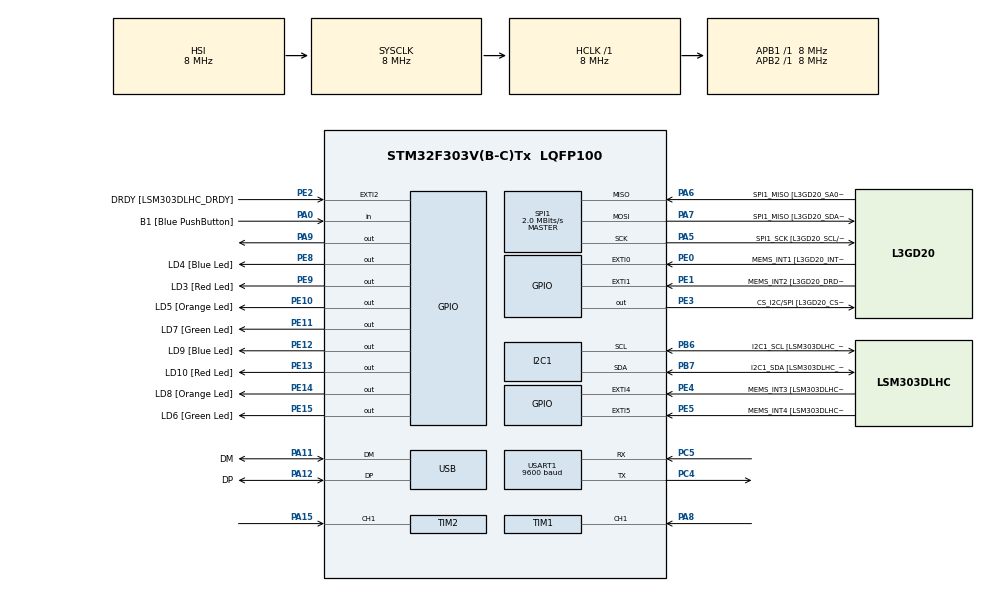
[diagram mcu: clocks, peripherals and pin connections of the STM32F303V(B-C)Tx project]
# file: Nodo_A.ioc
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I2C1.Timing-I2C=0x2000090E
Mcu.Family=STM32F3
Mcu.Name=STM32F303V(B-C)Tx
Mcu.Package=LQFP100
NVIC.PriorityGroup=NVIC_PRIORITYGROUP_0
NVIC.TIM1_CC_IRQn=true\:0\:0\:false\:false\:true\:true\:true\:true
NVIC.USART1_IRQn=true\:0\:0\:false\:false\:true\:true\:true\:true
PA0.GPIO_Label=B1 [Blue PushButton]
PA0.Signal=GPIO_Input
PA11.GPIO_Label=DM
PA11.Mode=Device
PA11.Signal=USB_DM
PA12.GPIO_Label=DP
PA12.Mode=Device
PA12.Signal=USB_DP
PA13.GPIO_Label=SWDIO
PA13.Mode=Serial_Wire
PA13.Signal=SYS_JTMS-SWDIO
PA14.GPIO_Label=SWCLK
PA14.Mode=Serial_Wire
PA14.Signal=SYS_JTCK-SWCLK
PA15.Signal=S_TIM2_CH1_ETR
PA5.GPIO_Label=SPI1_SCK [L3GD20_SCL/SPC]
PA5.Mode=Full_Duplex_Master
PA5.Signal=SPI1_SCK
PA6.GPIO_Label=SPI1_MISO [L3GD20_SA0/SDO]
PA6.Mode=Full_Duplex_Master
PA6.Signal=SPI1_MISO
PA7.GPIO_Label=SPI1_MISO [L3GD20_SDA/SDI/SDO]
PA7.Mode=Full_Duplex_Master
PA7.Signal=SPI1_MOSI
PA8.Signal=S_TIM1_CH1
PA9.Signal=GPIO_Output
PB3.GPIO_Label=SWO
PB3.Signal=SYS_JTDO-TRACESWO
PB6.GPIO_Label=I2C1_SCL [LSM303DLHC_SCL]
PB6.GPIO_Pu=GPIO_PULLUP
PB6.Mode=I2C
PB6.Signal=I2C1_SCL
PB7.GPIO_Label=I2C1_SDA [LSM303DLHC_SDA]
PB7.GPIO_Pu=GPIO_PULLUP
PB7.Mode=I2C
PB7.Signal=I2C1_SDA
PC14-OSC32_IN.GPIO_Label=OSC32_IN
PC14-OSC32_IN.Signal=RCC_OSC32_IN
PC15-OSC32_OUT.GPIO_Label=OSC32_OUT
PC15-OSC32_OUT.Signal=RCC_OSC32_OUT
PC4.Mode=Asynchronous
PC4.Signal=USART1_TX
PC5.Mode=Asynchronous
PC5.Signal=USART1_RX
PE0.GPIO_Label=MEMS_INT1 [L3GD20_INT1]
PE0.GPIO_ModeDefaultEXTI=GPIO_MODE_EVT_RISING
PE0.Signal=GPXTI0
PE1.GPIO_Label=MEMS_INT2 [L3GD20_DRDY/INT2]
PE1.GPIO_ModeDefaultEXTI=GPIO_MODE_EVT_RISING
PE1.Signal=GPXTI1
PE10.GPIO_Label=LD5 [Orange Led]
PE10.Signal=GPIO_Output
PE11.GPIO_Label=LD7 [Green Led]
PE11.Signal=GPIO_Output
PE12.GPIO_Label=LD9 [Blue Led]
PE12.Signal=GPIO_Output
PE13.GPIO_Label=LD10 [Red Led]
PE13.Signal=GPIO_Output
PE14.GPIO_Label=LD8 [Orange Led]
PE14.Signal=GPIO_Output
PE15.GPIO_Label=LD6 [Green Led]
PE15.Signal=GPIO_Output
PE2.GPIO_Label=DRDY [LSM303DLHC_DRDY]
PE2.GPIO_ModeDefaultEXTI=GPIO_MODE_EVT_RISING
PE2.Signal=GPXTI2
PE3.GPIO_Label=CS_I2C/SPI [L3GD20_CS_I2C/SPI]
PE3.Signal=GPIO_Output
PE4.GPIO_Label=MEMS_INT3 [LSM303DLHC_INT1]
PE4.GPIO_ModeDefaultEXTI=GPIO_MODE_EVT_RISING
PE4.Signal=GPXTI4
PE5.GPIO_Label=MEMS_INT4 [LSM303DLHC_INT2]
PE5.GPIO_ModeDefaultEXTI=GPIO_MODE_EVT_RISING
PE5.Signal=GPXTI5
PE8.GPIO_Label=LD4 [Blue Led]
PE8.Signal=GPIO_Output
PE9.GPIO_Label=LD3 [Red Led]
PE9.Signal=GPIO_Output
PF0-OSC_IN.Mode=HSE-External-Oscillator
PF0-OSC_IN.Signal=RCC_OSC_IN
PF1-OSC_OUT.GPIO_Label=OSC_OUT
PF1-OSC_OUT.Mode=HSE-External-Oscillator
PF1-OSC_OUT.Signal=RCC_OSC_OUT
ProjectManager.HeapSize=0x200
ProjectManager.StackSize=0x400
ProjectManager.TargetToolchain=STM32CubeIDE
RCC.AHBFreq_Value=8000000
RCC.APB1Freq_Value=8000000
RCC.APB2Freq_Value=8000000
RCC.CortexFreq_Value=8000000
RCC.HSE_VALUE=8000000
RCC.HSI_VALUE=8000000
RCC.LSE_VALUE=32768
RCC.SYSCLKFreq_VALUE=8000000
RCC.USBFreq_Value=16000000
SH.S_TIM1_CH1.0=TIM1_CH1,Input_Capture1_from_TI1
SH.S_TIM2_CH1_ETR.0=TIM2_CH1,Input_Capture1_from_TI1
SPI1.BaudRatePrescaler=SPI_BAUDRATEPRESCALER_4
SPI1.BaudRatePrescaler-Full_Duplex_Master=SPI_BAUDRATEPRESCALER_2
SPI1.CalculateBaudRate=2.0 MBits/s
SPI1.CalculateBaudRate-Full_Duplex_Master=24.0 MBits/s
SPI1.Direction=SPI_DIRECTION_2LINES
SPI1.Mode=SPI_MODE_MASTER
SPI1.Mode-Full_Duplex_Master=SPI_MODE_MASTER
SPI1.VirtualType=VM_MASTER
TIM1.Channel-Input_Capture1_from_TI1=TIM_CHANNEL_1
TIM1.Period=0xffff-1
TIM1.Prescaler=72-1
TIM2.Channel-Input_Capture1_from_TI1=TIM_CHANNEL_1
USART1.BaudRate=9600
USART1.VirtualMode-Asynchronous=VM_ASYNC
board=STM32F3DISCOVERY

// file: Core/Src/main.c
#include "main.h"

I2C_HandleTypeDef hi2c1;

SPI_HandleTypeDef hspi1;

TIM_HandleTypeDef htim1;
TIM_HandleTypeDef htim2;

UART_HandleTypeDef huart1;

PCD_HandleTypeDef hpcd_USB_FS;

void SystemClock_Config(void);
static void MX_GPIO_Init(void);
static void MX_I2C1_Init(void);
static void MX_SPI1_Init(void);
static void MX_USB_PCD_Init(void);
static void MX_TIM1_Init(void);
static void MX_TIM2_Init(void);
static void MX_USART1_UART_Init(void);

/* USER CODE BEGIN 0 */

void delay (uint16_t time)
{
	__HAL_TIM_SET_COUNTER(&htim1, 0);
	while (__HAL_TIM_GET_COUNTER (&htim1) < time);
}

uint32_t IC_Val1 = 0;
uint32_t IC_Val2 = 0;
uint32_t Difference = 0;
uint8_t Is_First_Captured = 0;  //verifichiamo se catturiamo il primo valore
uint8_t Distance  = 0;

#define TRIG_PIN GPIO_PIN_9
#define TRIG_PORT GPIOA
#define BUFFER_LEN 3

uint8_t RX_BUFFER[BUFFER_LEN] = {0, 0, 0};
uint8_t TX_BUFFER[BUFFER_LEN] = {0, 0, 0};

void HAL_TIM_IC_CaptureCallback(TIM_HandleTypeDef *htim)
{
	if (htim->Channel == HAL_TIM_ACTIVE_CHANNEL_1)  //verifichiamo se l'interruzione viene da Channel 1
	{
		if (Is_First_Captured==0)
		{
			IC_Val1 = HAL_TIM_ReadCapturedValue(htim, TIM_CHANNEL_1); //catturiamo il valore...
			Is_First_Captured = 1; //... e settiamo la variabile ad 1
			//Mettiamo sul fronte di discesa
			__HAL_TIM_SET_CAPTUREPOLARITY(htim, TIM_CHANNEL_1, TIM_INPUTCHANNELPOLARITY_FALLING);
		}

		else if (Is_First_Captured==1)   //se abbiamo già il primo valore
		{
			IC_Val2 = HAL_TIM_ReadCapturedValue(htim, TIM_CHANNEL_1);  //catturiamo il secondo valore
			__HAL_TIM_SET_COUNTER(htim, 0);  //resettiamo il conteggio del timer

			if (IC_Val2 > IC_Val1)
			{
				Difference = IC_Val2-IC_Val1;
			}

			else if (IC_Val1 > IC_Val2)
			{
				Difference = (0xffff - IC_Val1) + IC_Val2;
			}

			Distance = Difference * 0.3438/2;
			Is_First_Captured = 0;

			//Rimettiamo sul fronte di salita
			__HAL_TIM_SET_CAPTUREPOLARITY(htim, TIM_CHANNEL_1, TIM_INPUTCHANNELPOLARITY_RISING);
			__HAL_TIM_DISABLE_IT(&htim1, TIM_IT_CC1);
		}
	}
}

void HCSR04_Read (void)
{
	HAL_GPIO_WritePin(TRIG_PORT, TRIG_PIN, GPIO_PIN_SET);  //mettiamo TRIG alto
	delay(10);  //aspettiamo 10 microsecondi
	HAL_GPIO_WritePin(TRIG_PORT, TRIG_PIN, GPIO_PIN_RESET);  //mettiamo TRIG basso

	__HAL_TIM_ENABLE_IT(&htim1, TIM_IT_CC1);
}

/* USER CODE END 0 */

int main(void)
{

  /* MCU Configuration--------------------------------------------------------*/

  /* Reset of all peripherals, Initializes the Flash interface and the Systick. */
  HAL_Init();

  /* Configure the system clock */
  SystemClock_Config();

  /* Initialize all configured peripherals */
  MX_GPIO_Init();
  MX_I2C1_Init();
  MX_SPI1_Init();
  MX_USB_PCD_Init();
  MX_TIM1_Init();
  MX_TIM2_Init();
  MX_USART1_UART_Init();
  /* USER CODE BEGIN 2 */

  HAL_TIM_IC_Start_IT(&htim1, TIM_CHANNEL_1);

  /* USER CODE END 2 */

  /* Infinite loop */
  while (1)
  {

    /* USER CODE BEGIN 3 */
	  HCSR04_Read();

	  TX_BUFFER[2] = ((Distance/100) + 48);
	  TX_BUFFER[1] = ((Distance/10)%10 + 48);
	  TX_BUFFER[0] = ((Distance%10) + 48);
	  HAL_UART_Transmit(&huart1, TX_BUFFER, sizeof(TX_BUFFER), 100);
	  HAL_Delay(200);
  }
  /* USER CODE END 3 */
}

void HAL_UART_RxCpltCallback(UART_HandleTypeDef *huart)
{
	if(huart->Instance == huart1.Instance)
	{
		if(RX_BUFFER[0] == '1')
		{
		    HAL_GPIO_WritePin(GPIOB, GPIO_PIN_10, 1);
		}
		else if(RX_BUFFER[0] == '0')
		{
		    HAL_GPIO_WritePin(GPIOB, GPIO_PIN_10, 0);
		}
		HAL_UART_Receive_IT(&huart1, RX_BUFFER, BUFFER_LEN);
	}
}

void SystemClock_Config(void)
{
  RCC_OscInitTypeDef RCC_OscInitStruct = {0};
  RCC_ClkInitTypeDef RCC_ClkInitStruct = {0};
  RCC_PeriphCLKInitTypeDef PeriphClkInit = {0};

  /** Initializes the RCC Oscillators according to the specified parameters
  * in the RCC_OscInitTypeDef structure.
  */
  RCC_OscInitStruct.OscillatorType = RCC_OSCILLATORTYPE_HSI|RCC_OSCILLATORTYPE_HSE;
  RCC_OscInitStruct.HSEState = RCC_HSE_ON;
  RCC_OscInitStruct.HSEPredivValue = RCC_HSE_PREDIV_DIV1;
  RCC_OscInitStruct.HSIState = RCC_HSI_ON;
  RCC_OscInitStruct.HSICalibrationValue = RCC_HSICALIBRATION_DEFAULT;
  RCC_OscInitStruct.PLL.PLLState = RCC_PLL_ON;
  RCC_OscInitStruct.PLL.PLLSource = RCC_PLLSOURCE_HSE;
  RCC_OscInitStruct.PLL.PLLMUL = RCC_PLL_MUL2;
  if (HAL_RCC_OscConfig(&RCC_OscInitStruct) != HAL_OK)
  {
    Error_Handler();
  }

  /** Initializes the CPU, AHB and APB buses clocks
  */
  RCC_ClkInitStruct.ClockType = RCC_CLOCKTYPE_HCLK|RCC_CLOCKTYPE_SYSCLK
                              |RCC_CLOCKTYPE_PCLK1|RCC_CLOCKTYPE_PCLK2;
  RCC_ClkInitStruct.SYSCLKSource = RCC_SYSCLKSOURCE_HSI;
  RCC_ClkInitStruct.AHBCLKDivider = RCC_SYSCLK_DIV1;
  RCC_ClkInitStruct.APB1CLKDivider = RCC_HCLK_DIV1;
  RCC_ClkInitStruct.APB2CLKDivider = RCC_HCLK_DIV1;

  if (HAL_RCC_ClockConfig(&RCC_ClkInitStruct, FLASH_LATENCY_0) != HAL_OK)
  {
    Error_Handler();
  }
  PeriphClkInit.PeriphClockSelection = RCC_PERIPHCLK_USB|RCC_PERIPHCLK_USART1
                              |RCC_PERIPHCLK_I2C1|RCC_PERIPHCLK_TIM1;
  PeriphClkInit.Usart1ClockSelection = RCC_USART1CLKSOURCE_PCLK2;
  PeriphClkInit.I2c1ClockSelection = RCC_I2C1CLKSOURCE_HSI;
  PeriphClkInit.USBClockSelection = RCC_USBCLKSOURCE_PLL;
  PeriphClkInit.Tim1ClockSelection = RCC_TIM1CLK_HCLK;
  if (HAL_RCCEx_PeriphCLKConfig(&PeriphClkInit) != HAL_OK)
  {
    Error_Handler();
  }
}

static void MX_I2C1_Init(void)
{

  hi2c1.Instance = I2C1;
  hi2c1.Init.Timing = 0x2000090E;
  hi2c1.Init.OwnAddress1 = 0;
  hi2c1.Init.AddressingMode = I2C_ADDRESSINGMODE_7BIT;
  hi2c1.Init.DualAddressMode = I2C_DUALADDRESS_DISABLE;
  hi2c1.Init.OwnAddress2 = 0;
  hi2c1.Init.OwnAddress2Masks = I2C_OA2_NOMASK;
  hi2c1.Init.GeneralCallMode = I2C_GENERALCALL_DISABLE;
  hi2c1.Init.NoStretchMode = I2C_NOSTRETCH_DISABLE;
  if (HAL_I2C_Init(&hi2c1) != HAL_OK)
  {
    Error_Handler();
  }

  /** Configure Analogue filter
  */
  if (HAL_I2CEx_ConfigAnalogFilter(&hi2c1, I2C_ANALOGFILTER_ENABLE) != HAL_OK)
  {
    Error_Handler();
  }

  /** Configure Digital filter
  */
  if (HAL_I2CEx_ConfigDigitalFilter(&hi2c1, 0) != HAL_OK)
  {
    Error_Handler();
  }

}

static void MX_SPI1_Init(void)
{

  /* SPI1 parameter configuration*/
  hspi1.Instance = SPI1;
  hspi1.Init.Mode = SPI_MODE_MASTER;
  hspi1.Init.Direction = SPI_DIRECTION_2LINES;
  hspi1.Init.DataSize = SPI_DATASIZE_4BIT;
  hspi1.Init.CLKPolarity = SPI_POLARITY_LOW;
  hspi1.Init.CLKPhase = SPI_PHASE_1EDGE;
  hspi1.Init.NSS = SPI_NSS_SOFT;
  hspi1.Init.BaudRatePrescaler = SPI_BAUDRATEPRESCALER_4;
  hspi1.Init.FirstBit = SPI_FIRSTBIT_MSB;
  hspi1.Init.TIMode = SPI_TIMODE_DISABLE;
  hspi1.Init.CRCCalculation = SPI_CRCCALCULATION_DISABLE;
  hspi1.Init.CRCPolynomial = 7;
  hspi1.Init.CRCLength = SPI_CRC_LENGTH_DATASIZE;
  hspi1.Init.NSSPMode = SPI_NSS_PULSE_ENABLE;
  if (HAL_SPI_Init(&hspi1) != HAL_OK)
  {
    Error_Handler();
  }

}

static void MX_TIM1_Init(void)
{

  TIM_MasterConfigTypeDef sMasterConfig = {0};
  TIM_IC_InitTypeDef sConfigIC = {0};

  htim1.Instance = TIM1;
  htim1.Init.Prescaler = 72-1;
  htim1.Init.CounterMode = TIM_COUNTERMODE_UP;
  htim1.Init.Period = 0xffff-1;
  htim1.Init.ClockDivision = TIM_CLOCKDIVISION_DIV1;
  htim1.Init.RepetitionCounter = 0;
  htim1.Init.AutoReloadPreload = TIM_AUTORELOAD_PRELOAD_DISABLE;
  if (HAL_TIM_IC_Init(&htim1) != HAL_OK)
  {
    Error_Handler();
  }
  sMasterConfig.MasterOutputTrigger = TIM_TRGO_RESET;
  sMasterConfig.MasterOutputTrigger2 = TIM_TRGO2_RESET;
  sMasterConfig.MasterSlaveMode = TIM_MASTERSLAVEMODE_DISABLE;
  if (HAL_TIMEx_MasterConfigSynchronization(&htim1, &sMasterConfig) != HAL_OK)
  {
    Error_Handler();
  }
  sConfigIC.ICPolarity = TIM_INPUTCHANNELPOLARITY_RISING;
  sConfigIC.ICSelection = TIM_ICSELECTION_DIRECTTI;
  sConfigIC.ICPrescaler = TIM_ICPSC_DIV1;
  sConfigIC.ICFilter = 0;
  if (HAL_TIM_IC_ConfigChannel(&htim1, &sConfigIC, TIM_CHANNEL_1) != HAL_OK)
  {
    Error_Handler();
  }

}

static void MX_TIM2_Init(void)
{

  TIM_MasterConfigTypeDef sMasterConfig = {0};
  TIM_IC_InitTypeDef sConfigIC = {0};

  htim2.Instance = TIM2;
  htim2.Init.Prescaler = 0;
  htim2.Init.CounterMode = TIM_COUNTERMODE_UP;
  htim2.Init.Period = 4294967295;
  htim2.Init.ClockDivision = TIM_CLOCKDIVISION_DIV1;
  htim2.Init.AutoReloadPreload = TIM_AUTORELOAD_PRELOAD_DISABLE;
  if (HAL_TIM_IC_Init(&htim2) != HAL_OK)
  {
    Error_Handler();
  }
  sMasterConfig.MasterOutputTrigger = TIM_TRGO_RESET;
  sMasterConfig.MasterSlaveMode = TIM_MASTERSLAVEMODE_DISABLE;
  if (HAL_TIMEx_MasterConfigSynchronization(&htim2, &sMasterConfig) != HAL_OK)
  {
    Error_Handler();
  }
  sConfigIC.ICPolarity = TIM_INPUTCHANNELPOLARITY_RISING;
  sConfigIC.ICSelection = TIM_ICSELECTION_DIRECTTI;
  sConfigIC.ICPrescaler = TIM_ICPSC_DIV1;
  sConfigIC.ICFilter = 0;
  if (HAL_TIM_IC_ConfigChannel(&htim2, &sConfigIC, TIM_CHANNEL_1) != HAL_OK)
  {
    Error_Handler();
  }

}

static void MX_USART1_UART_Init(void)
{

  huart1.Instance = USART1;
  huart1.Init.BaudRate = 9600;
  huart1.Init.WordLength = UART_WORDLENGTH_8B;
  huart1.Init.StopBits = UART_STOPBITS_1;
  huart1.Init.Parity = UART_PARITY_NONE;
  huart1.Init.Mode = UART_MODE_TX_RX;
  huart1.Init.HwFlowCtl = UART_HWCONTROL_NONE;
  huart1.Init.OverSampling = UART_OVERSAMPLING_16;
  huart1.Init.OneBitSampling = UART_ONE_BIT_SAMPLE_DISABLE;
  huart1.AdvancedInit.AdvFeatureInit = UART_ADVFEATURE_NO_INIT;
  if (HAL_UART_Init(&huart1) != HAL_OK)
  {
    Error_Handler();
  }

}

static void MX_USB_PCD_Init(void)
{

  hpcd_USB_FS.Instance = USB;
  hpcd_USB_FS.Init.dev_endpoints = 8;
  hpcd_USB_FS.Init.speed = PCD_SPEED_FULL;
  hpcd_USB_FS.Init.phy_itface = PCD_PHY_EMBEDDED;
  hpcd_USB_FS.Init.low_power_enable = DISABLE;
  hpcd_USB_FS.Init.battery_charging_enable = DISABLE;
  if (HAL_PCD_Init(&hpcd_USB_FS) != HAL_OK)
  {
    Error_Handler();
  }

}

static void MX_GPIO_Init(void)
{
  GPIO_InitTypeDef GPIO_InitStruct = {0};

  /* GPIO Ports Clock Enable */
  __HAL_RCC_GPIOE_CLK_ENABLE();
  __HAL_RCC_GPIOC_CLK_ENABLE();
  __HAL_RCC_GPIOF_CLK_ENABLE();
  __HAL_RCC_GPIOA_CLK_ENABLE();
  __HAL_RCC_GPIOB_CLK_ENABLE();

  /*Configure GPIO pin Output Level */
  HAL_GPIO_WritePin(GPIOE, CS_I2C_SPI_Pin|LD4_Pin|LD3_Pin|LD5_Pin
                          |LD7_Pin|LD9_Pin|LD10_Pin|LD8_Pin
                          |LD6_Pin, GPIO_PIN_RESET);

  /*Configure GPIO pin Output Level */
  HAL_GPIO_WritePin(GPIOA, GPIO_PIN_9, GPIO_PIN_RESET);

  /*Configure GPIO pins : DRDY_Pin MEMS_INT3_Pin MEMS_INT4_Pin MEMS_INT1_Pin
                           MEMS_INT2_Pin */
  GPIO_InitStruct.Pin = DRDY_Pin|MEMS_INT3_Pin|MEMS_INT4_Pin|MEMS_INT1_Pin
                          |MEMS_INT2_Pin;
  GPIO_InitStruct.Mode = GPIO_MODE_EVT_RISING;
  GPIO_InitStruct.Pull = GPIO_NOPULL;
  HAL_GPIO_Init(GPIOE, &GPIO_InitStruct);

  /*Configure GPIO pins : CS_I2C_SPI_Pin LD4_Pin LD3_Pin LD5_Pin
                           LD7_Pin LD9_Pin LD10_Pin LD8_Pin
                           LD6_Pin */
  GPIO_InitStruct.Pin = CS_I2C_SPI_Pin|LD4_Pin|LD3_Pin|LD5_Pin
                          |LD7_Pin|LD9_Pin|LD10_Pin|LD8_Pin
                          |LD6_Pin;
  GPIO_InitStruct.Mode = GPIO_MODE_OUTPUT_PP;
  GPIO_InitStruct.Pull = GPIO_NOPULL;
  GPIO_InitStruct.Speed = GPIO_SPEED_FREQ_LOW;
  HAL_GPIO_Init(GPIOE, &GPIO_InitStruct);

  /*Configure GPIO pin : B1_Pin */
  GPIO_InitStruct.Pin = B1_Pin;
  GPIO_InitStruct.Mode = GPIO_MODE_INPUT;
  GPIO_InitStruct.Pull = GPIO_NOPULL;
  HAL_GPIO_Init(B1_GPIO_Port, &GPIO_InitStruct);

  /*Configure GPIO pin : PA9 */
  GPIO_InitStruct.Pin = GPIO_PIN_9;
  GPIO_InitStruct.Mode = GPIO_MODE_OUTPUT_PP;
  GPIO_InitStruct.Pull = GPIO_NOPULL;
  GPIO_InitStruct.Speed = GPIO_SPEED_FREQ_LOW;
  HAL_GPIO_Init(GPIOA, &GPIO_InitStruct);

}

void Error_Handler(void)
{
  __disable_irq();
  while (1)
  {
  }
}
